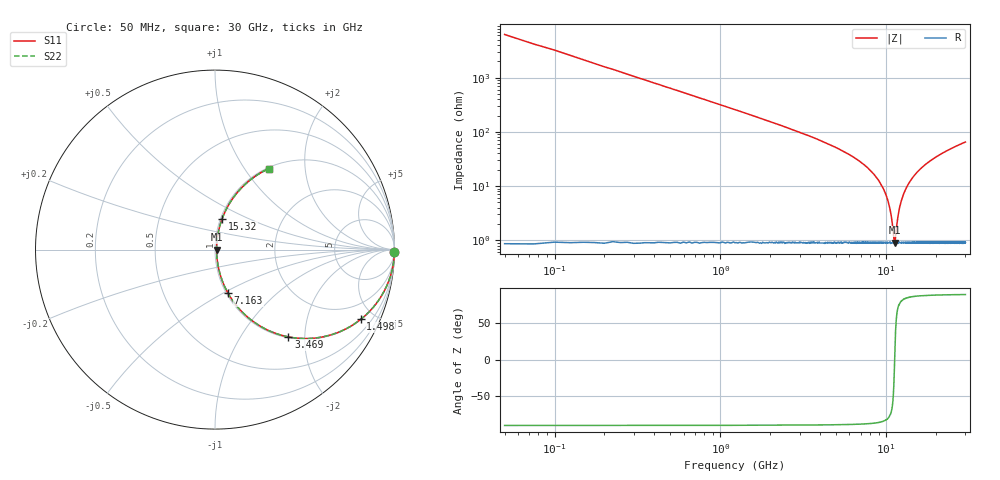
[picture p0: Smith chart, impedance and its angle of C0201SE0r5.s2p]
!	AVX Thin Film Operation 	Date: April 2014
!	Description: Accu-P® Series, Thin Film  SMD RF Capacitor
!	Part Number: 02011J0R5ZBSTR
# MHZ S MA R 50
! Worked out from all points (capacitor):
!   1201 points, 50 MHz to 30 GHz, reference 50 ohm
!   read as one part in series: C = 500 fF near 199.8 MHz
!   lowest |Z| = 907 mohm at 11.23 GHz (marker M1)
!   series resonance near 11.23 GHz, so ESL is about 400 pH
!   S11 on the Smith chart (normalised r, x): 50 MHz: open; 1.498 GHz: 1.02, -4.17; 3.469 GHz: 1.02, -1.66; 7.163 GHz: 1.02, -0.53; 15.32 GHz: 1.02, +0.36; 30 GHz: 1.02, +1.30
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50  1 -0.9  0.016 89.1  0.016 89.1  1 -0.9
274.625  0.996 -4.9  0.086 85.0  0.086 85.0  0.996 -4.9
524.208  0.986 -9.4  0.163 80.5  0.163 80.5  0.986 -9.4
923.542  0.959 -16.3  0.28 73.6  0.28 73.6  0.959 -16.3
1497.583  0.9 -25.5  0.431 64.2  0.431 64.2  0.9 -25.5
2396.083  0.782 -38.1  0.617 51.5  0.617 51.5  0.782 -38.1
3469.292  0.635 -49.9  0.765 39.4  0.765 39.4  0.635 -49.9
5041.667  0.447 -62.4  0.887 26.5  0.887 26.5  0.447 -62.4
7163.125  0.253 -73.4  0.959 14.6  0.959 14.6  0.253 -73.4
8885.25  0.132 -78.6  0.982 7.6  0.982 7.6  0.132 -78.6
10058.29  0.063 -78.2  0.989 3.6  0.989 3.6  0.063 -78.2
10632.33  0.032 -72.0  0.991 1.8  0.991 1.8  0.032 -72.0
11231.33  0.008979 -0.4  0.991 0.0  0.991 0.0  0.008979 -0.4
11356.12  0.011 34.1  0.991 -0.4  0.991 -0.4  0.011 34.1
11905.21  0.034 72.8  0.99 -1.9  0.99 -1.9  0.034 72.8
12554.12  0.063 78.3  0.989 -3.6  0.989 -3.6  0.063 78.3
13502.54  0.104 79.1  0.986 -5.9  0.986 -5.9  0.104 79.1
15025  0.164 77.5  0.978 -9.4  0.978 -9.4  0.164 77.5
15324.5  0.175 77.0  0.976 -10.1  0.976 -10.1  0.175 77.0
20016.67  0.324 69.6  0.937 -18.9  0.937 -18.9  0.324 69.6
25033.29  0.447 62.4  0.886 -26.6  0.886 -26.6  0.447 62.4
30000  0.542 56.4  0.833 -32.8  0.833 -32.8  0.542 56.4
